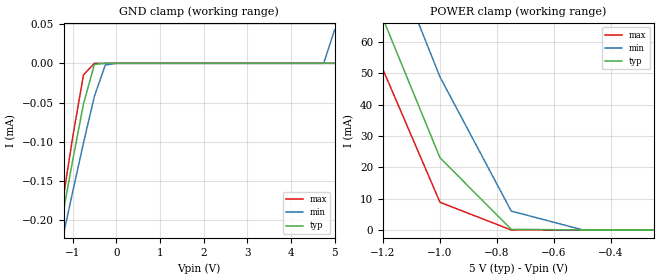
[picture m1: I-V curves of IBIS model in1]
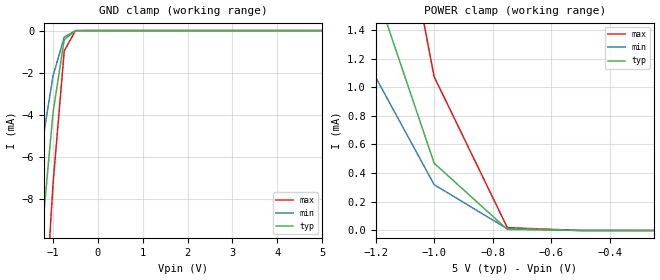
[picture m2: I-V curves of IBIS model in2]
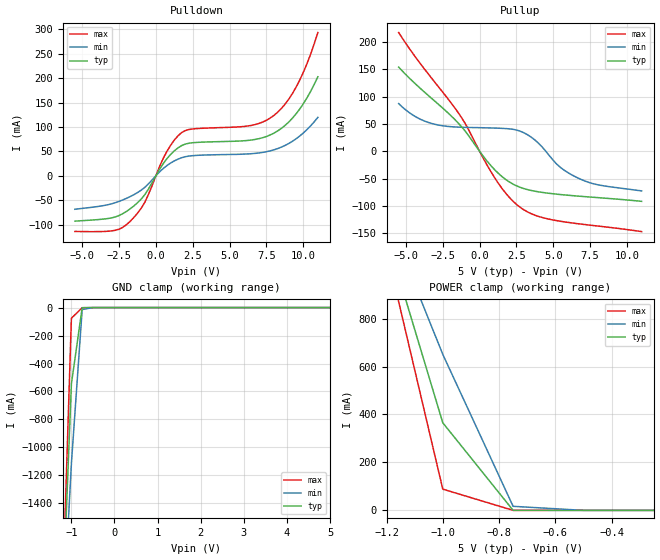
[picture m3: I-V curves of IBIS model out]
|   | |\   |
|   | | \  |
|   | | /  |
|   | |/   |
| COPYRIGHT(C) ADI 2012
[IBIS Ver] 4.0
[File Name] ad5791.ibs
[File Rev] 1.0
[Source]   This file originated at Analog Devices.
   I/V Curves based on simulations.
   Author:  John Condon, Engineering Student, UCC
   Questions or Comments: John.Condon@analog.com
[Date]   10 August 2012
[Notes]
[Disclaimer]
            This IBIS model is provided "AS IS, WHERE IS, AND WITH NO
            WARRANTY OF ANY KIND EITHER EXPRESSED OR IMPLIED, INCLUDING
            BUT NOT LIMITED TO ANY IMPLIED WARRANTIES OF MERCHANTABILITY
            AND FITNESS FOR A PARTICULAR PURPOSE."
            In no event will ADI be liable for special, collateral,
            incidental, or consequential damages in connection with or
            arising out of the use of this IBIS model.  ADI reserves the
            right to make changes to the products and IBIS models without
            prior notice.
[Copyright]   Copyright (C)2012 Analog Devices, All Rights Reserved
[Component] AD5791
[Manufacturer] Analog Devices
[Package]
| variable   typ   min   max
R_pkg   75mohms   NA   NA
L_pkg   2.51nH   NA   NA
C_pkg   0.77pF   NA   NA
[Pin]   signal_name   model_name
1   INV   NC
2   VOUT   NC
3   VREFPS   NC
4   VREFPF   NC
5   VDD   POWER
6   RESETB   in1
7   CLRB   in2
8   LDACB   in2
9   VCC   POWER
10   IOVCC   POWER
11   SDO   out
12   SDIN   in2
13   SCLK   in2
14   SYNCB   in2
15   DGND   GND
16   VREFNF   NC
17   VREFNS   NC
18   VSS   POWER
19   AGND   GND
20   RFB   NC
| Models and submodels in the file (3): in1 (Input), in2 (Input), out (Output)
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[Model] in1
Model_type Input
Vinl = 1.5V
Vinh = 3.5V
C_comp 4.23pF NA NA
| variable   typ   min   max
[Temperature Range]   25   125   -40
[Voltage Range]   5V   4.5V   5.50V
[GND Clamp Reference]   0V   0V   0V
[POWER Clamp Reference]  5.0V   4.50V   5.50V
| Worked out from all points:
|   GND clamp passes 1 mA (typ) near -3.79 V on its own axis
|   POWER clamp passes 1 mA (typ) near -0.76 V on its own axis
[GND Clamp]
| Note: Vtable = Vpin
| Voltage  I(typ)   I(min)   I(max)
-5.5V     -1.545mA   -1.361mA   -1.777mA
-1.5V     -278uA     -294.3uA   -276.3uA
-1.25V    -200.7uA   -229uA     -184.7uA
-1V       -124.5uA   -164.5uA   -95.12uA
-750mV    -51.72uA   -101.4uA   -14.68uA
-500mV    -1.396uA   -42.04uA   -606.3pA
-250mV    -285.2pA   -2.128uA   -197.4pA
0V        -176.7pA   -979.7pA   -187.1pA
4.75V     15.53pA    37.51nA    6.865pA
5V        20.01pA    42.66uA    15.99pA
[Power Clamp]
| Note: Vtable = VDD - Vpin
| Voltage  I(typ)   I(min)   I(max)
-5.5V     1.157A     1.181A     1.143A
-1.5V     139.1mA    166.3mA    122.5mA
-1.25V    78.59mA    106mA      61.81mA
-1V       23.06mA    48.86mA    8.843mA
-750mV    205.1uA    6.037mA    1.261uA
-500mV    20.87nA    42.66uA    30.84pA
-250mV    23.28pA    37.51nA    24.13pA
[Model] in2
Model_type Input
Vinl = 1.5V
Vinh = 3.5V
C_comp 2.23pF NA NA
| variable   typ   min   max
[Temperature Range]   25   125   -40
[Voltage Range]   5V   4.5V   5.50V
[GND Clamp Reference]   0V   0V   0V
[POWER Clamp Reference]  5.0V   4.50V   5.50V
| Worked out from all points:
|   GND clamp passes 1 mA (typ) near -0.79 V on its own axis
|   POWER clamp passes 1 mA (typ) near -1.09 V on its own axis
[GND Clamp]
| Note: Vtable = Vpin
| Voltage  I(typ)   I(min)   I(max)
-5.5V     -153.1mA   -112.2mA   -188.6mA
-1.5V     -16.65mA   -9.691mA   -25.53mA
-1.25V    -9.737mA   -5.476mA   -16.05mA
-1V       -3.9mA     -2.157mA   -7.293mA
-750mV    -433.8uA   -313.1uA   -969uA
-500mV    -3.358uA   -8.355uA   -2.98uA
5V        63.95pA    85.52nA    7.708pA
[Power Clamp]
| Note: Vtable = VDD - Vpin
| Voltage  I(typ)   I(min)   I(max)
-5.5V     89.42mA    61.55mA    121.9mA
-1.5V     4.277mA    2.674mA    7.489mA
-1.25V    1.981mA    1.259mA    3.748mA
-1V       469.7uA    319.7uA    1.073mA
-750mV    7.1uA      11.53uA    19.64uA
-500mV    6.936nA    85.52nA    3.092nA
-250mV    83.17pA    4.591nA    27.76pA
[Model] out
Model_type Output
C_comp 2.792pF NA NA
Vmeas = 2.5V
| variable   typ   min   max
[Temperature Range]   25   125   -40
[Voltage Range]   5.0V   4.5V   5.50V
[GND Clamp Reference]   0V   0V   0V
[POWER Clamp Reference]   5.0V   4.5V   5.50V
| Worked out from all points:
|   slope of the pulldown table from 0 to 0.75 V, typ, clamps not added: 21.4 ohm
|   slope of the pullup table from 0 to 0.75 V, typ, clamps not added: 29.3 ohm
|   GND clamp passes 1 mA (typ) near -0.75 V on its own axis
|   POWER clamp passes 1 mA (typ) near -0.75 V on its own axis
[GND Clamp]
| Note: Vtable = Vpin
| Voltage   I(typ)   I(min)   I(max)
-5.5V     -35.72A    -27.46A    -44.96A
-1.25V    -2.499A    -2.577A    -2.49A
-1V       -545.5mA   -1.115A    -76.16mA
-750mV    -972uA     -14.12mA   -1.211mA
-500mV    -6.379uA   -43.68uA   -2.725uA
5V        31.54pA    11.64uA    29.53pA
[Power Clamp]
| Note: Vtable = VDD - Vpin
| Voltage   I(typ)   I(min)   I(max)
-5.5V     17.97A     13.83A     22.6A
-1.25V    1.34A      1.38A      1.335A
-1V       365.3mA    650.7mA    88.53mA
-750mV    97.09uA    16.82mA    25.14uA
-500mV    14.84nA    11.64uA    2.747nA
-250mV    36.08pA    8.467nA    34.86pA
[Pulldown]
| Note: Vtable = Vpin
| Voltage   I(typ)   I(min)   I(max)
-5.5V     -93.06mA   -68.71mA   -114.2mA
-2.75V    -84.4mA    -55.18mA   -111.8mA
-1.75V    -67.91mA   -42.82mA   -93.56mA
-750mV    -38.71mA   -23.72mA   -54.28mA
750mV     35.03mA    20.9mA     50.11mA
1.75V     61.87mA    36.93mA    88.51mA
6.5V      73.3mA     45.22mA    103.3mA
8V        87.12mA    53mA       123.4mA
8.75V     102.6mA    61.81mA    145.9mA
9.5V      126.1mA    75.31mA    180.4mA
10.25V    159.2mA    94.34mA    229mA
11V       202.9mA    119.6mA    293.7mA
[Pullup]
| Note: Vtable = VDD - Vpin
| Voltage   I(typ)   I(min)   I(max)
-5.5V     154mA      87.33mA    217.2mA
-4.25V    120.6mA    61.81mA    168.4mA
-3V       90.71mA    49.22mA    124.9mA
-1V       37.69mA    43.87mA    51.85mA
1V        -32.95mA   42.64mA    -47.36mA
1.75V     -50.97mA   41.72mA    -75.7mA
2.5V      -62.91mA   39.05mA    -96.83mA
4V        -73.94mA   14.88mA    -118.9mA
5.25V     -78.25mA   -23.72mA   -126.7mA
6.5V      -81.32mA   -46.36mA   -131.6mA
8V        -84.46mA   -60.9mA    -136.4mA
11V       -91.31mA   -72.25mA   -146.7mA
[Ramp]
| Variable   typ   min   max
dV/dt_r   2.921V/1.159ns   2.889V/1.266ns   2.940V/1.661ns
dV/dt_f   2.947V/1.361ns   2.916V/1.489ns   2.962V/1.661ns
R_load =  1000
